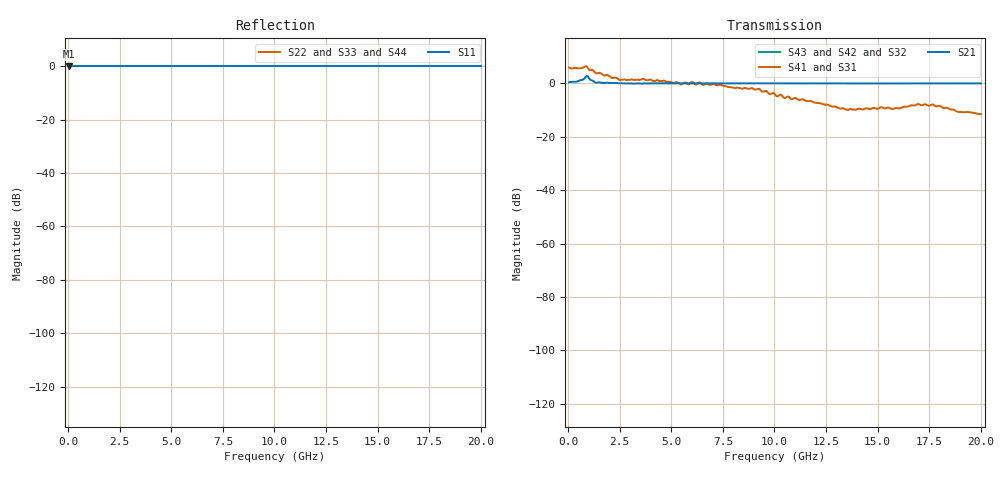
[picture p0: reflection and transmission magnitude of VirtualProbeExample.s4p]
# MHz MA S R 50.0
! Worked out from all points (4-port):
!   400 points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, 50 MHz to 20 GHz, reference 50 ohm
!   strongest paths, dB at 50 MHz, 5.05 GHz, 10.05 GHz, 15.05 GHz, 20 GHz:
!     S21: 0.5, 0.0, 0.0, 0.0, 0.0
!     S41: 5.9, 0.4, -4.4, -9.3, -11.5
!     S31: 6.2, 0.4, -4.4, -9.3, -11.5
!     S43: -, -, -, -, -
!     S42: -, -, -, -, -
!     S32: -, -, -, -, -
!   lowest |S11| = 0.0 dB at 50 MHz (marker M1)
!   |S11| at or under -10 dB: nowhere
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50  1 0.0  0 0.0  0 0.0  0 0.0
    1.054 0.6  0 0.0  0 0.0  0 0.0
    2.033 -27.8  0 0.0  0 0.0  0 0.0
    1.983 -28.0  0 0.0  0 0.0  0 0.0
350  1 -0.0  0 0.0  0 0.0  0 0.0
     1.07 1.9  0 0.0  0 0.0  0 0.0
     2.021 176.1  0 0.0  0 0.0  0 0.0
     1.957 174.9  0 0.0  0 0.0  0 0.0
700  1 0.0  0 0.0  0 0.0  0 0.0
     1.169 3.1  0 0.0  0 0.0  0 0.0
     2.118 -7.0  0 0.0  0 0.0  0 0.0
     1.962 -9.4  0 0.0  0 0.0  0 0.0
1000  1 0.0  0 0.0  0 0.0  0 0.0
      1.278 -10.5  0 0.0  0 0.0  0 0.0
      2.128 178.5  0 0.0  0 0.0  0 0.0
      1.827 -178.1  0 0.0  0 0.0  0 0.0
1350  1 0.0  0 0.0  0 0.0  0 0.0
      1.035 -8.5  0 0.0  0 0.0  0 0.0
      1.597 -4.5  0 0.0  0 0.0  0 0.0
      1.546 0.2  0 0.0  0 0.0  0 0.0
1700  1 -0.0  0 0.0  0 0.0  0 0.0
      1.023 -5.8  0 0.0  0 0.0  0 0.0
      1.449 174.8  0 0.0  0 0.0  0 0.0
      1.429 177.9  0 0.0  0 0.0  0 0.0
20000  1 -0.0  0 0.0  0 0.0  0 0.0
       1.002 -0.4  0 0.0  0 0.0  0 0.0
       0.2666 88.3  0 0.0  0 0.0  0 0.0
       0.2663 88.6  0 0.0  0 0.0  0 0.0
